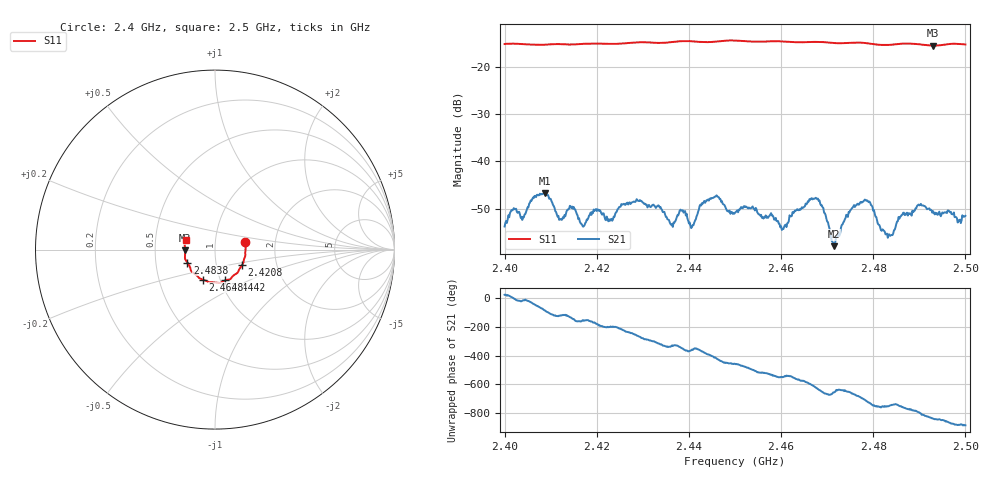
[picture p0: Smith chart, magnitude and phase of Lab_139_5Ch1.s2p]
# Hz S RI R 50
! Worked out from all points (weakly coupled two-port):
!   601 points, 2.4 GHz to 2.5 GHz, reference 50 ohm
!   highest |S21| = -46.67 dB at 2.4087 GHz (marker M1); lowest = -57.8 dB at 2.4715 GHz (marker M2)
!   lowest |S11| = -15.6 dB at 2.493 GHz (marker M3), VSWR 1.40, Z = 35.8 - j0.216 ohm
!   |S11| at or under -10 dB: start of sweep to end of sweep
!   S12 and S22 are empty: the file has one direction only
!   S11 on the Smith chart (normalised r, x): 2.4 GHz: 1.40, +0.12; 2.4208 GHz: 1.33, -0.24; 2.4442 GHz: 1.05, -0.37; 2.4648 GHz: 0.83, -0.29; 2.4838 GHz: 0.73, -0.11; 2.5 GHz: 0.72, +0.08
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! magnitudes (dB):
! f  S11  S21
! 2.4 GHz  -15.3  -53.7
! 2.4087 GHz  -15.4  -46.7
! 2.412 GHz  -15.3  -52.2
! 2.4147 GHz  -15.4  -49.5
! 2.4167 GHz  -15.2  -53.1
! 2.4208 GHz  -15.2  -50.5
! 2.4333 GHz  -15.0  -49.2
! 2.4405 GHz  -14.7  -54.0
! 2.4442 GHz  -14.9  -48.0
! 2.45 GHz  -14.5  -50.8
! 2.4603 GHz  -14.7  -54.2
! 2.4648 GHz  -14.9  -49.7
! 2.4667 GHz  -14.8  -47.7
! 2.4687 GHz  -14.8  -49.2
! 2.4715 GHz  -15.1  -57.8
! 2.4752 GHz  -15.0  -50.1
! 2.4783 GHz  -15.1  -48.1
! 2.4833 GHz  -15.5  -55.4
! 2.4838 GHz  -15.4  -55.6
! 2.4898 GHz  -15.3  -49.1
! 2.493 GHz  -15.6  -50.5
! 2.5 GHz  -15.4  -51.4
